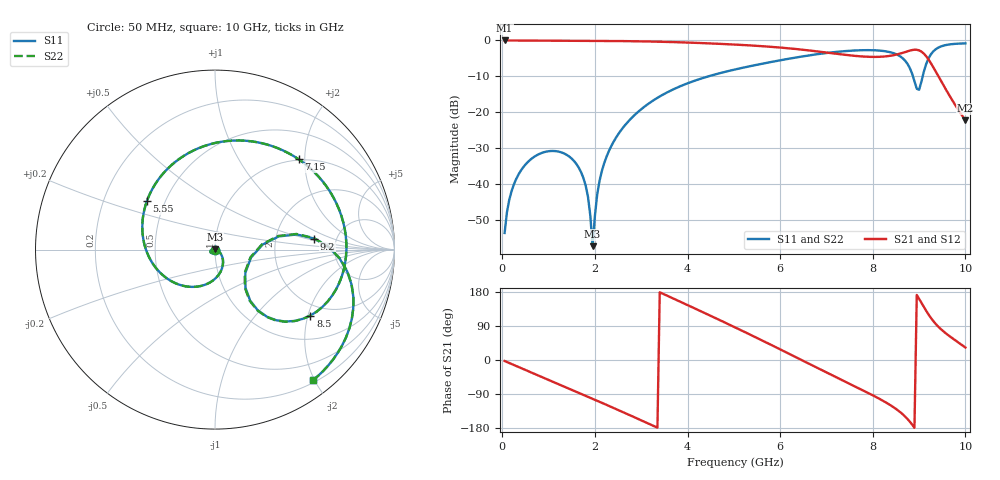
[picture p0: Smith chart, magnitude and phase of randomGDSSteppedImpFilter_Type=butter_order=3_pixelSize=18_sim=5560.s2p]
! freq	dB(S11)	phase(S11)	dB(S12)	phase(S12)
!  dB(S21)	phase(S21)	dB(S22)	phase(S22)
!S-par simulation data
#  GHz  S  DB  R 50
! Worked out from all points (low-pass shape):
!   200 points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, 50 MHz to 10 GHz, reference 50 ohm
!   highest |S21| = -0.01 dB at 50 MHz (marker M1); lowest = -22.3 dB at 10 GHz (marker M2)
!   |S21| within 3 dB of the highest: start of sweep to 6.771 GHz; 8.755 GHz to 9.037 GHz (281.9 MHz wide, 3.17 % of centre)
!   lowest |S11| = -57.2 dB at 1.95 GHz (marker M3), VSWR 1.00, Z = 50 + j0.136 ohm
!   |S11| at or under -10 dB: start of sweep to 4.448 GHz; 8.868 GHz to 9.078 GHz (209.6 MHz wide, 2.34 % of centre)
!   |S22| runs from -56.8 to -0.8 dB; largest |S21 - S12| = 0
!   S11 on the Smith chart (normalised r, x): 50 MHz: 1.00, -0.00; 5.55 GHz: 0.40, +0.27; 7.15 GHz: 0.98, +1.87; 8.5 GHz: 1.64, -2.07; 9.2 GHz: 3.38, +0.60; 10 GHz: 0.23, -1.98
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0.05  -53.56 -79.5  -0.01 -2.7  -0.01 -2.7  -53.56 -79.5
0.25  -40.06 -100.9  -0.02 -13.1  -0.02 -13.1  -40.06 -100.9
0.65  -32.73 -124.3  -0.05 -34.0  -0.05 -34.0  -32.73 -124.3
1.3  -31.26 -160.0  -0.08 -68.0  -0.08 -68.0  -31.26 -160.1
1.75  -38.22 172.5  -0.11 -91.7  -0.11 -91.7  -38.21 172.2
1.85  -43.46 162.1  -0.11 -97.0  -0.11 -97.0  -43.43 161.5
1.95  -57.24 80.9  -0.12 -102.3  -0.12 -102.3  -56.78 81.3
2.05  -42.79 -7.6  -0.13 -107.6  -0.13 -107.6  -42.79 -6.9
2.3  -30.83 -28.9  -0.15 -121.0  -0.15 -121.0  -30.83 -28.7
3.4  -15.58 -91.5  -0.36 178.7  -0.36 178.7  -15.59 -91.4
4.3  -10.58 -142.3  -0.73 128.0  -0.73 128.0  -10.58 -142.3
5.05  -8.01 174.3  -1.17 84.7  -1.17 84.7  -8.01 174.3
5.55  -6.64 144.6  -1.55 55.2  -1.55 55.2  -6.64 144.6
6.7  -4.02 74.5  -2.90 -14.6  -2.90 -14.6  -4.02 74.5
7.15  -3.28 47.3  -3.61 -41.9  -3.61 -41.9  -3.28 47.2
7.8  -2.71 8.9  -4.48 -80.9  -4.48 -80.9  -2.71 8.8
8.35  -3.20 -24.5  -4.32 -116.8  -4.32 -116.8  -3.20 -24.7
8.5  -3.80 -34.7  -3.96 -129.0  -3.96 -129.0  -3.80 -34.8
9  -13.75 -12.5  -2.76 161.6  -2.76 161.6  -13.89 -12.2
9.2  -5.10 6.4  -5.22 120.8  -5.22 120.8  -5.12 6.7
9.5  -1.55 -23.0  -11.87 78.2  -11.87 78.2  -1.55 -22.9
10  -0.82 -53.1  -22.26 32.9  -22.26 32.9  -0.82 -53.1
